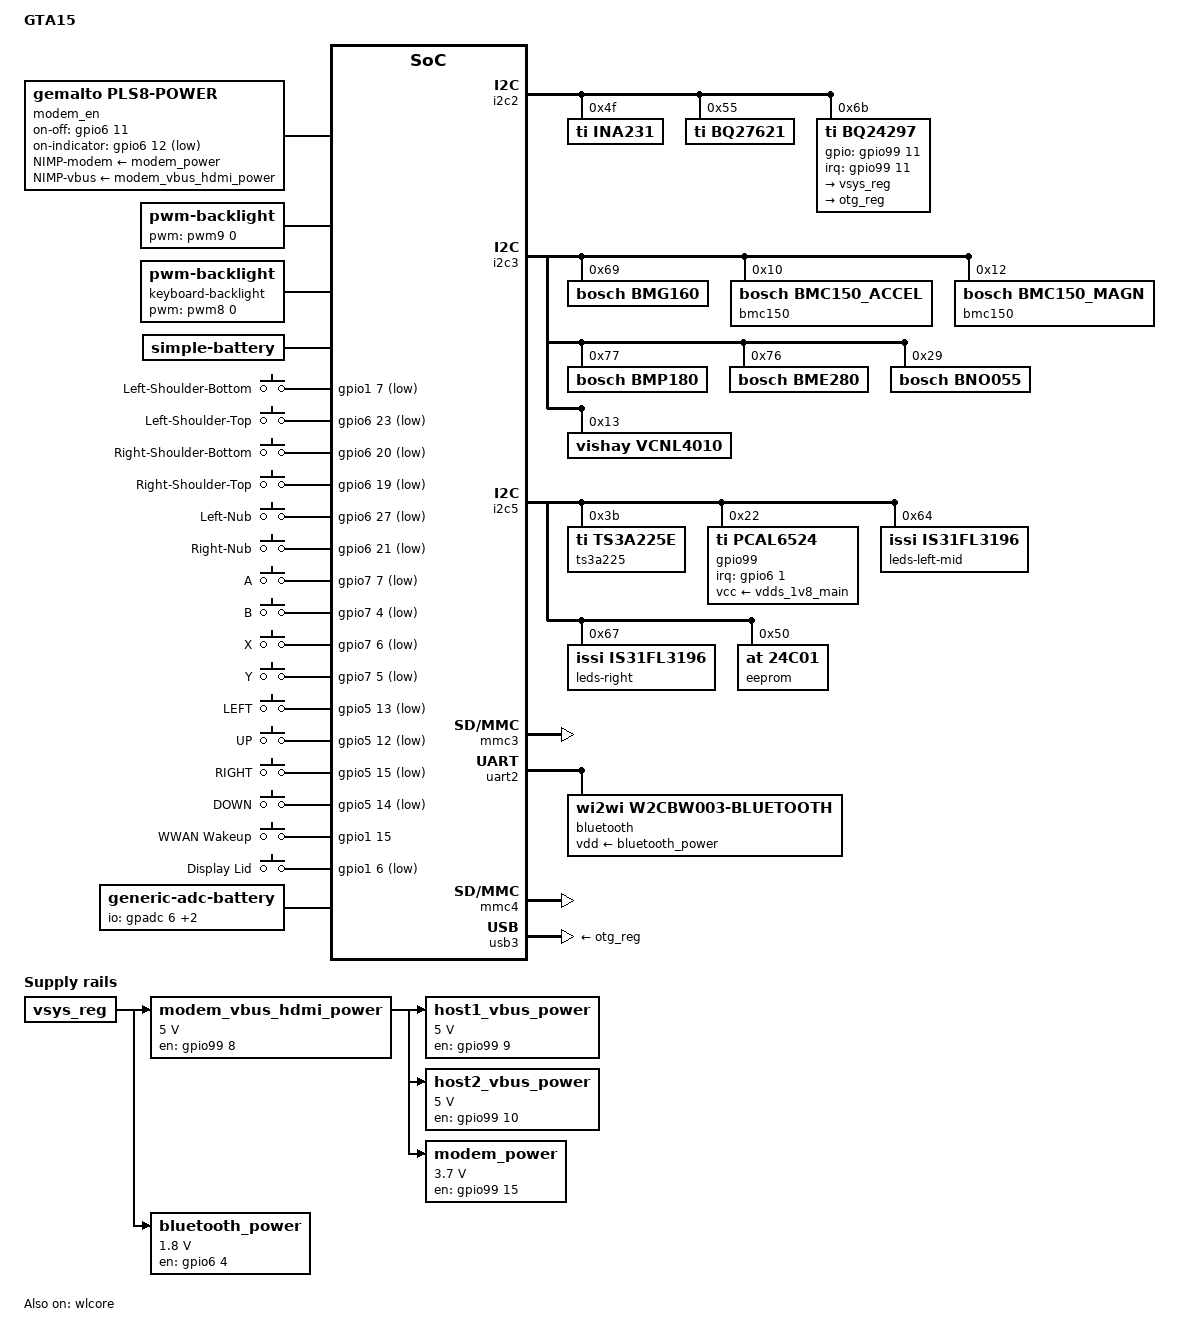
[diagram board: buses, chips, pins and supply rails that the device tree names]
/*
 * Copyright (C) 2018 Golden Delicious Computers - http://www.goldelico.com/
 *
 * This program is free software; you can redistribute it and/or modify
 * it under the terms of the GNU General Public License version 2 as
 * published by the Free Software Foundation.
 */

// FIXME: add all changes from Pyra-Mainboard V5.1, V5.2, V5.3 and align with
// real circuits
// also adjust keys and LEDs

#include <dt-bindings/input/input.h>

/* overwrite device model */

/ {
	model = "GTA15";

	/* common DC/DC converter for USB Host ports, Modem USB and HDMI 5V */
	modem_vbus_hdmi_power: tps2505_reg {
		compatible = "regulator-fixed";
		regulator-name = "modem_vbus_hdmi_power";
		regulator-min-microvolt = <5000000>;
		regulator-max-microvolt = <5000000>;
		gpio = <&gpio99 8 GPIO_ACTIVE_HIGH>;
		enable-active-high;
		startup-delay-us = <70000>;
		vin-supply = <&vsys_reg>;
		regulator-always-on;
	};

	/* this are the DC/DC converters that supply the
	   5V to USB devices connected to the Host ports.
	   They should be under the (software) control
	   of the USB3503A hub on the CPU board */

	host1_vbus_power: host1_vbus_power_reg {
		compatible = "regulator-fixed";
		regulator-name = "host1_vbus_power";
		regulator-min-microvolt = <5000000>;
		regulator-max-microvolt = <5000000>;
		gpio = <&gpio99 9 GPIO_ACTIVE_HIGH>;
		enable-active-high;
		startup-delay-us = <70000>;
		vin-supply = <&modem_vbus_hdmi_power>;
		regulator-always-on;
	};

	host2_vbus_power: host2_vbus_power_reg {
		compatible = "regulator-fixed";
		regulator-name = "host2_vbus_power";
		regulator-min-microvolt = <5000000>;
		regulator-max-microvolt = <5000000>;
		gpio = <&gpio99 10 GPIO_ACTIVE_HIGH>;
		enable-active-high;
		startup-delay-us = <70000>;
		vin-supply = <&modem_vbus_hdmi_power>;
		regulator-always-on;
	};

	/* this is the modem power switch (similar to a LDO) */
	modem_power: modem_power_reg {
		compatible = "regulator-fixed";
		regulator-name = "modem_vbus_power";
		regulator-min-microvolt = <3700000>;
		regulator-max-microvolt = <3700000>;
		gpio = <&gpio99 15 GPIO_ACTIVE_HIGH>;
		enable-active-high;
		startup-delay-us = <100000>;
		/* the real input is vsys but it makes no sense
		   to power the modem without requesting vbus */
		vin-supply = <&modem_vbus_hdmi_power>;
		regulator-always-on;
	};

	modem_en: modem { /* control modem power through rfkill */
		compatible = "gemalto,pls8-power";
		pinctrl-names = "default";
		pinctrl-0 = <&pyra_modem_pins>;
		NIMP-usb-port = <&hsusb2_phy>; 	/* USB phy where we can check the modem status */
		on-off-gpio = <&gpio6 11 GPIO_ACTIVE_HIGH>;	/* gpio6_171: trigger to power on modem */
		on-indicator-gpio = <&gpio6 12 GPIO_ACTIVE_LOW>;	/* gpio6_172: modem power indication feedback GPIO */
		NIMP-modem-supply = <&modem_power>;		/* enable some external power regulator */
		/* VBUS supply should probably be controlled through the USB PHY driver for the modem port */
		NIMP-vbus-supply = <&modem_vbus_hdmi_power>;	/* apply VBUS to the modem */
	};

	backlight {
		compatible = "pwm-backlight";
		pwms = <&pwm9 0 12000000 0>;
		pwm-names = "backlight";
		brightness-levels = <0 5 7 10 12 14 17 20 25 30 35 40 50 65 80 100>;
		default-brightness-level = <14>;	/* 80% */
		pinctrl-names = "default";
		pinctrl-0 = <&backlight_pins>;
	};

	pwm9: dmtimer-pwm@9 {
		compatible = "ti,omap-dmtimer-pwm";
		ti,timers = <&timer9>;
		#pwm-cells = <3>;
	};

	keyboard-backlight {
		compatible = "pwm-backlight";
		pwms = <&pwm8 0 12000000 0>;
		pwm-names = "keyboard";
		brightness-levels = <0 1 2 5 10 20 40 60 100>;
		default-brightness-level = <5>;	/* 20% */
		pinctrl-names = "default";
		pinctrl-0 = <&keyboard_backlight_pins>;
	};

	pwm8: dmtimer-pwm@8 {
		compatible = "ti,omap-dmtimer-pwm";
		ti,timers = <&timer8>;
		#pwm-cells = <3>;
	};

	bat: battery {
		compatible = "simple-battery", "pyra-battery";
		voltage-min-design-microvolt = <3200000>;
		energy-full-design-microwatt-hours = <22200000>;
		charge-full-design-microamp-hours = <6000000>;
	};

};

/* add overlay pimmux for pyra on 5432evm */

&omap5_pmx_core {

	pinctrl-0 = <
			/* copied from original */
			&usbhost_pins
			&led_gpio_pins

			/* new entries */
			&pyra_button_pins
			&pyra_other_pins
	>;

/* this is for DragonFly V4 with the letux Cortex15 CPU board
// inputs
#define GPIO_LID 6			// lid close sensor - gpio1_wk6 - open collector output
#define GPIO_3G_PWR 172			// modem power indication - gpio6_172
#define GPIO_WAKEUP 15			// wakeup from modem - gpio1_wk15
#define GPIO_PENIRQ 173			// touch screen controller IRQ - gpio6_173
#define GPIO_LNUB_IRQ 175		// left nub IRQ - gpio6_175
#define GPIO_RNUB_IRQ 174		// right nub IRQ - gpio6_174
#define GPIO_KEYIRQ 177			// keyboard controller IRQ - gpio6-177
#define GPIO_RSH_TOP 179		// right top shoulder button - gpio6-179 - closes to GND
#define GPIO_RSH_BOT 180		// right bottom shoulder button - gpio6-180 - closes to GND
#define GPIO_RNUB 181			// right nub center button - gpio6-181 - closes to GND
#define GPIO_LNUB 187			// left nub center button - gpio6-187 - closes to GND
#define GPIO_LSH_TOP 183		// left top shoulder button - gpio6-183 - closes to GND
#define GPIO_LSH_BOT 7			// left bottom shoulder button - gpio1_wk7 - closes to GND
#define GPIO_VSYNC 189			// VSYNC input (gpio6_189 in: comes from panel)
// outputs
#define GPIO_3G_IGNITE 171		// start modem (active high pulse) - gpio6_171
#define GPIO_DISPEN 162			// enable TPS65133 or ssd2858 - gpio6_162
#define GPIO_DISPLAY_RESET 176		// panel reset (active low)/enable - gpio6_176
#define GPIO_PWM 190			// enable 18V backlight (active high) - timer9/gpio6_190 (out) - or input to track what the panel is doing
#define GPIO_PERIPHERAL_RESET 144	// device reset (active low)/enable - gpio5_144
*/

/* to find pinmux register offsets, see section A.7.2 in TRM

   note: offsets in the table are relative to 0x4a00 2800
   but reg = <0x4a002840 0x01b6> for omap5_pmx_core

   Therefore gpio5_153 with Address Offset 0x1D4
   translates into 0x194 (0xd0-0x40 => 0x90)
   and because it has [31:16] we have to add 0x02
   giving a result of 0x196.

   Definitions for bit patterns:
   0x0007	MUX_MODE0 .. MUX_MODE7
   0x0008	enable pull up/down
   0x0010	select pull up
   0x0020	disable power for I/O cell
   0x0100	enable input buffer (there is no explicit "enable output buffer" because that is defined by the GPIO direction)
   0x4000	enable wakeup detection

   or use the OMAP5_IOPAD() macros to do the conversion. You still have to look
   up the pin and register address offset in the TRM.
*/

	pyra_button_pins: pinmux_button_gpio_pins {
		pinctrl-single,pins = <
			OMAP5_IOPAD(0x1bc, PIN_INPUT_PULLUP | MUX_MODE6)	/* 0x1BC:[15:0] gpio5_140 - U */
			OMAP5_IOPAD(0x1be, PIN_INPUT_PULLUP | MUX_MODE6)	/* 0x1BC:[31:16] gpio5_141 - L */
			OMAP5_IOPAD(0x1c0, PIN_INPUT_PULLUP | MUX_MODE6)	/* 0x1C0:[15:0] gpio5_142 - D */
			OMAP5_IOPAD(0x1c2, PIN_INPUT_PULLUP | MUX_MODE6)	/* 0x1C0:[31:16] gpio5_143 - R */
			OMAP5_IOPAD(0x108, PIN_INPUT_PULLUP | MUX_MODE6)	/* 0x108:[15:0]  gpio6_179 - rsh-top */
			OMAP5_IOPAD(0x106, PIN_INPUT_PULLUP | MUX_MODE6)	/* 0x104:[31:16] gpio6_180 - rsh-bot */
			OMAP5_IOPAD(0x104, PIN_INPUT_PULLUP | MUX_MODE6)	/* 0x104:[15:0]  gpio6_181 - right nub */
			OMAP5_IOPAD(0x132, PIN_INPUT_PULLUP | MUX_MODE6)	/* 0x130:[31:16] gpio6_183 - lsh-top */
			OMAP5_IOPAD(0x13a, PIN_INPUT_PULLUP | MUX_MODE6)	/* 0x138:[31:16]  gpio6_187 - left nub */
			OMAP5_IOPAD(0x102, PIN_INPUT_PULLUP | MUX_MODE6)	/* 0x100:[31:16] gpio7_196 - B */
			OMAP5_IOPAD(0x0fc, PIN_INPUT_PULLUP | MUX_MODE6)	/* 0x0FC:[15:0] gpio7_197 - Y */
			OMAP5_IOPAD(0x0fe, PIN_INPUT_PULLUP | MUX_MODE6)	/* 0x0FC:[31:16] gpio7_198 - X */
			OMAP5_IOPAD(0x100, PIN_INPUT_PULLUP | MUX_MODE6)	/* 0x100:[15:0] gpio7_199 - A */
		>;
	};

	pyra_other_pins: pinmux_other_gpio_pins {
		pinctrl-single,pins = <
/* gpio 3_84-87 = BT HCI uart2 */
/* gpio 4_97-100 = GSM PCM mcbsp3 */
/* gpio 4_101-104 = BT PCM mcbsp1 */
/* gpio 4_105-107 = FM/DAC PCM mcbsp2 */
/* gpio 5_128-133 = mmc3 = wifi dsio */
/* gpio 5_134-137 = mmc4 = right SD slot */
			OMAP5_IOPAD(0x1c4, PIN_INPUT_PULLUP | MUX_MODE6)	/* 0x1C4:[15:0]  gpio5_144 - reset I2C peripherals */
/* gpio 5_155-156 = mmc4 = right SD slot / uart3 debug */
			OMAP5_IOPAD(0x12c, PIN_INPUT | MUX_MODE6)	/* 0x12C:[15:0]  gpio6_160 - revision 1 */
			OMAP5_IOPAD(0x12e, PIN_INPUT_PULLUP | MUX_MODE6)	/* 0x12C:[31:16]  gpio6_161 - TCA6424 active low interrupt */

/* next should be outputs and controlled by some driver (e.g. regulator-fixed) */
			OMAP5_IOPAD(0x128, PIN_INPUT_PULLDOWN | MUX_MODE6)	/* 0x128:[15:0]  gpio6_165 - Speaker EN */

/* gpio 5_167-168 = uart3 Pyra console - is handled by MLO! */
			OMAP5_IOPAD(0x11c, PIN_INPUT_PULLUP | MUX_MODE6)	/* 0x11C:[15:0]  gpio6_169 - Accelerometer interrupt */
			OMAP5_IOPAD(0x11a, PIN_INPUT_PULLUP | MUX_MODE6)	/* 0x118:[31:16]  gpio6_170 - Magnetometer interrupt */
			OMAP5_IOPAD(0x114, PIN_INPUT_PULLUP | MUX_MODE6)	/* 0x114:[15:0]  gpio6_173 - touch screen penirq */
			OMAP5_IOPAD(0x112, PIN_INPUT_PULLUP | MUX_MODE6)	/* 0x110:[31:16]  gpio6_174 - right NUB int */
			OMAP5_IOPAD(0x110, PIN_INPUT_PULLUP | MUX_MODE6)	/* 0x110:[15:0]  gpio6_175 - left NUB int */
			OMAP5_IOPAD(0x10c, PIN_INPUT_PULLUP | MUX_MODE6)	/* 0x10C:[15:0]  gpio6_177 - keyboard int */
			OMAP5_IOPAD(0x10a, PIN_INPUT_PULLUP | MUX_MODE6)	/* 0x108:[31:16]  gpio6_178 - fm int */
			OMAP5_IOPAD(0x130, PIN_INPUT | MUX_MODE6)	/* 0x130:[15:0]  gpio6_182 - revision 2 */
			OMAP5_IOPAD(0x136, PIN_INPUT | MUX_MODE6)	/* 0x134:[31:16]  gpio6_185 - revision 3 */
			OMAP5_IOPAD(0x138, PIN_INPUT_PULLUP | MUX_MODE6)	/* 0x138:[15:0]  gpio6_186 - Gyroscope interrupt */
/* gpio 8_228-229 = mmc1 = left SD slot WP/CD */
		>;
	};

	pyra_modem_pins: pinmux_modem_gpio_pins {
		pinctrl-single,pins = <
			OMAP5_IOPAD(0x118, PIN_OUTPUT_PULLDOWN | MUX_MODE6)	/* 0x118:[15:0]  gpio6_171 - modem ignite */
			OMAP5_IOPAD(0x116, PIN_INPUT | MUX_MODE6)	/* 0x114:[31:16]  gpio6_172 - modem power indication */
		>;
	};

	backlight_pins: pinmux_backlight_pins {
		pinctrl-single,pins = <
			/* MUX_MODE0 for PWM_TIMER9, MUX_MODE6 for GPIO, MUX_MODE7 if panel provides the PWM signal */
			OMAP5_IOPAD(0x0f6, PIN_OUTPUT_PULLDOWN | MUX_MODE0)	/* 0x0F4:[31:16] timer9/gpio6_190 */
		>;
	};

	keyboard_backlight_pins: pinmux_keyboard_backlight_pins {
		pinctrl-single,pins = <
			/* MUX_MODE0 for PWM_TIMER8, MUX_MODE6 for GPIO */
			OMAP5_IOPAD(0x178, PIN_OUTPUT_PULLDOWN | MUX_MODE0)	/* 0x178:[15:0] timer8/gpio8_230 */
		>;
	};

};

&omap5_pmx_wkup {

	letux_wkup_pins: pinmux_wkup_pins {
		pinctrl-single,pins = <
			OMAP5_IOPAD(0x078, PIN_OUTPUT | MUX_MODE6)	/* 0x078:[15:0]  gpio1_wkout4 - second LED on CPU board */
			OMAP5_IOPAD(0x046, WAKEUP_EN | PIN_INPUT | MUX_MODE6)	/* 0x044:[31:16]  gpio1_wk7 - boot select input */
		>;
	};

	lid_pin: pinmux_lid_pin {
		pinctrl-single,pins = <
			OMAP5_IOPAD(0x044, WAKEUP_EN | PIN_INPUT_PULLUP | MUX_MODE6)	/* 0x044:[15:0] gpio1_wk6 - lid */
		>;
	};

	wwan_pins: pinmux_wwan_pins {
		pinctrl-single,pins = <
			OMAP5_IOPAD(0x042, WAKEUP_EN | PIN_INPUT_PULLUP | MUX_MODE6)	/* 0x040:[31:16] gpio1_wk15 - modem wakeup */
		>;
	};
};

/* register devices connected to Peripheral-I2C */
&i2c2 {

	/* modem current sensor */
	ina231@4f {
		compatible = "ti,ina231";
		reg = <0x4f>;
		shunt-resistor = <20000>;	/* 20 mOhm */
	};

	/* fuel gauge */
	bq27621@55 {
		compatible = "ti,bq27621";
		reg = <0x55>;
		monitored-battery = <&bat>;
	};

	/* charger */
	bq24297@6b {
		/* FIXME: driver is quite broken because it is a hack */
		compatible = "ti,bq24297";
		reg = <0x6b>;
		monitored-battery = <&bat>;
		ti,chg_current = <1000 2000 2000>;	// chg_current (max for the battery), usb_input_current, adp_input_current
		gpios = <&gpio99 11 0>,		// chg_irq_pin - ignored by driver
			<0>;			// dc_det_pin - if 0, charger is switched by driver to 2048mA, otherwise 512mA
		interrupt-parent = <&gpio99>;
		interrupts = <11 IRQ_TYPE_EDGE_FALLING>;
		ti,watchdog = <40>;		// 40 seconds watchdog timer
		regulators {
			vsys_reg: vsys_regulator {
				/* add information */
				regulator-compatible = "bq2429x-vsys";
				regulator-name = "vsys";
//				regulator-min-microvolt = <3500000>;
//				regulator-max-microvolt = <3700000>;
				regulator-always-on;
				regulator-boot-on;
			};
			otg_reg: otg_regulator {
				/* add information */
				regulator-compatible = "bq2429x-otg";
				regulator-name = "otg";
//				regulator-min-microvolt = <4900000>;
//				regulator-max-microvolt = <5100000>;
			};
		};
	};

};

/* register devices connected to Sensor-I2C */
&i2c3 {
	/* optional gyroscope sensor */
	bmg160@69 {
		compatible = "bosch,bmg160";
		reg = <0x69>;
// irq
	};
	/* optional accelerometer sensor */
	bmc150@10 {
		compatible = "bosch,bmc150_accel";
		reg = <0x10>;
/*		pinctrl-names = "default";
		pinctrl-0 = <&bmc150_pins>;
		interrupt-parent = <&gpio6>;
		interrupts = <9 (IRQ_TYPE_LEVEL_HIGH | IRQ_TYPE_EDGE_RISING)>;	/* gpio6_169 * /
*/
	};
	/* optional compass sensor */
	bmc150@12 {
		compatible = "bosch,bmc150_magn";
		reg = <0x12>;
// irq
	};
	/* optional barometer sensor */
	bmp180@77 {
		compatible = "bosch,bmp180";
		reg = <0x77>;
	};
	/* optional barometer/hygrometer sensor */
	bme280@76 {
		compatible = "bosch,bme280";
		reg = <0x76>;
// power on/off?
	};
	/* optional 9-axis sensor */
	bno055@29 {
		compatible = "bosch,bno055";
		reg = <0x29>;
		bosch,operation-mode = <7>;	/* BNO055_MODE_AMG */
// irq
	};
	/* proximity and ambient light sensor */
	vcnl4010@13 {
		compatible = "vishay,vcnl4010";
		reg = <0x13>;
	};
};

/* register devices connected to System-I2C */
&i2c5 {
	/* microphone detect */
	ts3a225@3b {
		compatible = "ti,ts3a225e";
		reg = <0x3b>;
//		interrupt-parent = <&gpio99>;
//		interrupts = <14 IRQ_TYPE_LEVEL_LOW>;
		ti,micbias = <0>;	/* 2.1V */
	};

	/* system/keyboard-led and other controls */
	gpio99: tca6424@22 {
		compatible = "ti,pcal6524";
		interrupt-parent = <&gpio6>;
//		interrupts = <1 IRQ_TYPE_LEVEL_LOW>;	/* gpio6_161 */
		interrupts = <1 IRQ_TYPE_EDGE_FALLING>;	/* gpio6_161 */
		interrupt-controller;
		#interrupt-cells = <2>;
		vcc-supply = <&vdds_1v8_main>;

		reg = <0x22>;
		gpio-controller;
		#gpio-cells = <2>;
		gpio-line-names =
			"hdmi-ct-hpd", "hdmi.ls-oe", "p02", "p03", "vibra", "fault2", "p06", "p07",
			"en-usb", "en-host1", "en-host2", "chg-int", "p14", "p15", "mic-int", "en-modem",
			"shdn-hs-amp", "chg-status+red", "green", "blue", "en-esata", "fault1", "p26", "p27";
	};

	leds-left-mid@64 {
		compatible = "issi,is31fl3196";
		#address-cells = <1>;
		#size-cells = <0>;
		reg = <0x64>;

		left_led1: red_left@1 {
			label = "pyra:red:left";
			reg = <1>;
			linux,default-trigger = "heartbeat";
		};

		left_led2: green_left@2 {
			label = "pyra:green:left";
			reg = <2>;
			linux,default-trigger = "heartbeat";
		};

		left_led3: blue_left@3 {
			label = "pyra:blue:left";
			reg = <3>;
			linux,default-trigger = "timer";
		};

		mid_led4: red_mid@4 {
			label = "pyra:red:mid";
			reg = <4>;
			linux,default-trigger = "default-on";
		};

		mid_led5: green_mid@5 {
			label = "pyra:green:mid";
			reg = <5>;
			linux,default-trigger = "timer";
		};

		mid_led6: blue_mid@6 {
			label = "pyra:blue:mid";
			reg = <6>;
			linux,default-trigger = "heartbeat";
		};
	};

	leds-right@67 {
		compatible = "issi,is31fl3196";
		#address-cells = <1>;
		#size-cells = <0>;
		reg = <0x67>;

		right_led7: red_right@1 {
			label = "pyra:red:right";
			reg = <1>;
			linux,default-trigger = "heartbeat";
		};

		right_led8: green_right@2 {
			label = "pyra:green:right";
			reg = <2>;
			linux,default-trigger = "heartbeat";
		};

		right_led9: blue_right@3 {
			label = "pyra:blue:right";
			reg = <3>;
			linux,default-trigger = "timer";
		};
	};

	eeprom@50 {
		compatible = "at,24c01";
		reg = <0x50>;
	};
};

/ {

	user-button {
		/* is bound to gpio1_wk7 which we want to reassign */
		/delete-node/ BOOTSEL;
	};

	pyra-gpio-keys@1 {
		compatible = "gpio-keys";

		#address-cells = <7>;
		#size-cells = <0>;

		left_shoulder_bottom {
			label = "Left-Shoulder-Bottom";
			linux,code = <KEY_RIGHTSHIFT>;
			gpios = <&gpio1 7 GPIO_ACTIVE_LOW>;	/* gpio1_wk7 */
			gpio-key,wakeup;
		};

		left_shoulder_top {
			label = "Left-Shoulder-Top";
			linux,code = <KEY_RIGHTMETA>;
			gpios = <&gpio6 23 GPIO_ACTIVE_LOW>;	/* gpio6_183 */
			gpio-key,wakeup;
		};

		right_shoulder_bottom {
			label = "Right-Shoulder-Bottom";
			linux,code = <KEY_RIGHTCTRL>;
			gpios = <&gpio6 20 GPIO_ACTIVE_LOW>;	/* gpio6_180 */
			gpio-key,wakeup;
		};

		right_shoulder_top {
			label = "Right-Shoulder-Top";
			linux,code = <KEY_RIGHTALT>;
			gpios = <&gpio6 19 GPIO_ACTIVE_LOW>;	/* gpio6_179 */
			gpio-key,wakeup;
		};

		left_nub {
			label = "Left-Nub";
			linux,code = <BTN_RIGHT>;
			gpios = <&gpio6 27 GPIO_ACTIVE_LOW>;	/* gpio6_187 */
			gpio-key,wakeup;
		};

		right_nub {
			label = "Right-Nub";
			linux,code = <BTN_LEFT>;
			gpios = <&gpio6 21 GPIO_ACTIVE_LOW>;	/* gpio6_181 */
			gpio-key,wakeup;
		};

		button_a {
			label = "A";
			linux,code = <KEY_HOME>;
			gpios = <&gpio7 7 GPIO_ACTIVE_LOW>;	/* gpio7_199 */
			gpio-key,wakeup;
		};

		button_b {
			label = "B";
			linux,code = <KEY_END>;
			gpios = <&gpio7 4 GPIO_ACTIVE_LOW>;	/* gpio7_196 */
			gpio-key,wakeup;
		};

		button_x {
			label = "X";
			linux,code = <KEY_PAGEDOWN>;
			gpios = <&gpio7 6 GPIO_ACTIVE_LOW>;	/* gpio7_198 */
			gpio-key,wakeup;
		};

		button_y {
			label = "Y";
			linux,code = <KEY_PAGEUP>;
			gpios = <&gpio7 5 GPIO_ACTIVE_LOW>;	/* gpio7_197 */
			gpio-key,wakeup;
		};

		dpad_left {
			label = "LEFT";
			linux,code = <KEY_LEFT>;
			gpios = <&gpio5 13 GPIO_ACTIVE_LOW>;	/* gpio5_141 */
			gpio-key,wakeup;
		};

		dpad_up {
			label = "UP";
			linux,code = <KEY_UP>;
			gpios = <&gpio5 12 GPIO_ACTIVE_LOW>;	/* gpio5_140 */
			gpio-key,wakeup;
		};

		dpad_right {
			label = "RIGHT";
			linux,code = <KEY_RIGHT>;
			gpios = <&gpio5 15 GPIO_ACTIVE_LOW>;	/* gpio5_143 */
			gpio-key,wakeup;
		};

		dpad_down {
			label = "DOWN";
			linux,code = <KEY_DOWN>;
			gpios = <&gpio5 14 GPIO_ACTIVE_LOW>;	/* gpio5_142 */
			gpio-key,wakeup;
		};
	};

	pyra-gpio-keys@2 {
		compatible = "gpio-keys";

		#address-cells = <2>;
		#size-cells = <0>;

		wwan_wakeup {
			label = "WWAN Wakeup";
			linux,code = <KEY_UNKNOWN>;
			pinctrl-names = "default";
			pinctrl-0 = <&wwan_pins>;
			gpios = <&gpio1 15 GPIO_ACTIVE_HIGH>;	/* gpio1_wk15 */
			gpio-key,wakeup;
			/* debounce-interval */
		};

		display_lid {
			label = "Display Lid";
			pinctrl-names = "default";
			pinctrl-0 = <&lid_pin>;
			linux,input-type = <EV_SW>;
			linux,code = <SW_LID>;
			gpios = <&gpio1 6 GPIO_ACTIVE_LOW>;	/* gpio1_wk6 */
			gpio-key,wakeup;
		};

	};

};

&tpd12s015 {
	compatible = "ti,tpd12s015";
	gpios = <&gpio99 0 GPIO_ACTIVE_HIGH>,	/* TCA6424A P01, CT CP HPD */
		<&gpio99 1 GPIO_ACTIVE_HIGH>,	/* TCA6424A P00, LS OE */
		<&gpio7 1 GPIO_ACTIVE_HIGH>;	/* GPIO 193, HPD */
};

/* more things to do
 * add a regulator-gpio for the LCD
 */

/* used in gpio mode for shoulder buttons etc. */

&mcspi1 {
	status = "disabled";
};

&mcspi2 {
	status = "disabled";
};

/*
 * configure WLAN/Bluetooth module - http://processors.wiki.ti.com/index.php/WL18xx_Platform_Integration_Guide#For_kernels_with_device_tree_support
 * and see http://lxr.free-electrons.com/source/Documentation/devicetree/bindings/net/wireless/ti,wlcore.txt
 */

&wlan_pins {
	status = "okay";
	pinctrl-single,pins = <
		OMAP5_IOPAD(0x126, PIN_OUTPUT | MUX_MODE6)	/* 0x124:[31:16]  gpio6_163 - WLAN EN */
	>;
};

&vmmcsdio_fixed {
	gpio = <&gpio6 3 GPIO_ACTIVE_HIGH>;	/* GPIO6_163 */
};

&mmc3 { /* we have a WLAN module on mmc3 */
	status = "okay";
};

&wlcore {
	status = "okay";
	compatible = "ti,wl1835";	/* or "ti,wl1837" */
};

&omap5_pmx_core {
	bt_pins: pinmux_bt_pins {
		pinctrl-single,pins = <
			OMAP5_IOPAD(0x12a, PIN_OUTPUT | MUX_MODE6)	/* 0x128:[31:16]  gpio6_164 - BT EN */
		>;
	};

};

/ {
	bluetooth_power: bt_en {
		compatible = "regulator-fixed";
		pinctrl-names = "default";
		pinctrl-0 = <&bt_pins>;
		regulator-name = "bt_power";
		regulator-min-microvolt = <1800000>;
		regulator-max-microvolt = <1800000>;
		gpio = <&gpio6 4 GPIO_ACTIVE_HIGH>;	/* GPIO6_164 */
		enable-active-high;
		startup-delay-us = <70000>;
		vin-supply = <&vsys_reg>;
	};
};

&uart2 {
	bluetooth: tiwi {
		/* we can (mis)use the w2cbw power control driver */
		compatible = "wi2wi,w2cbw003-bluetooth";
		vdd-supply = <&bluetooth_power>;
	};
};

/* rearrange to use gpio6_167/168 for console UART3 instead of sdio4_cmd/clk */

&uart3_pins {
	pinctrl-single,pins = <
		OMAP5_IOPAD(0x11e, PIN_OUTPUT | MUX_MODE4) /* uart3_tx_irtx gpio6_168 */
		OMAP5_IOPAD(0x120, PIN_INPUT_PULLUP | MUX_MODE4) /* uart3_rx_irrx gpio6_167 */
	>;
};

&uart3 {
	interrupts-extended = <&wakeupgen GIC_SPI 74 IRQ_TYPE_LEVEL_HIGH>,
			      <&omap5_pmx_core 0xe0>;
};

&mmc4 { /* enable second (µ)SD slot (SDIO capable) */
	status = "okay";
};

&twl6040 {
	vddvibl-supply = <&vsys_reg>;
	vddvibr-supply = <&vsys_reg>;

	vibra {
		ti,vibldrv-res = <8>;
		ti,vibrdrv-res = <3>;
		ti,viblmotor-res = <32>;
		ti,vibrmotor-res = <999999>;	/* no motor */
	};
};

/* we do not use the Palmas OTG step-up converter */

&usb3 {
	vbus-supply = <&otg_reg>;
};

&smps10_out1_reg {
	/* never turn on or it may burn the Palmas! */
	status = "disabled";
};

#include <dt-bindings/power/power.h>

/ {
	battery: battery-monitor {
		compatible = "linux,generic-adc-battery";
		io-channels = <&gpadc 6>, <&gpadc 11>, <&gpadc 1>;
		io-channel-names = "voltage", "current", "temperature";
		monitored-battery = <&bat>;
		technology = <POWER_SUPPLY_TECHNOLOGY_LION>;
		battery-name = "pyra-battery";
		charge_full_design = <6000000>;
		charge_empty_design = <00>;
		voltage_min_design = <3200000>;
		voltage_max_design = <4200000>;
	};
};
